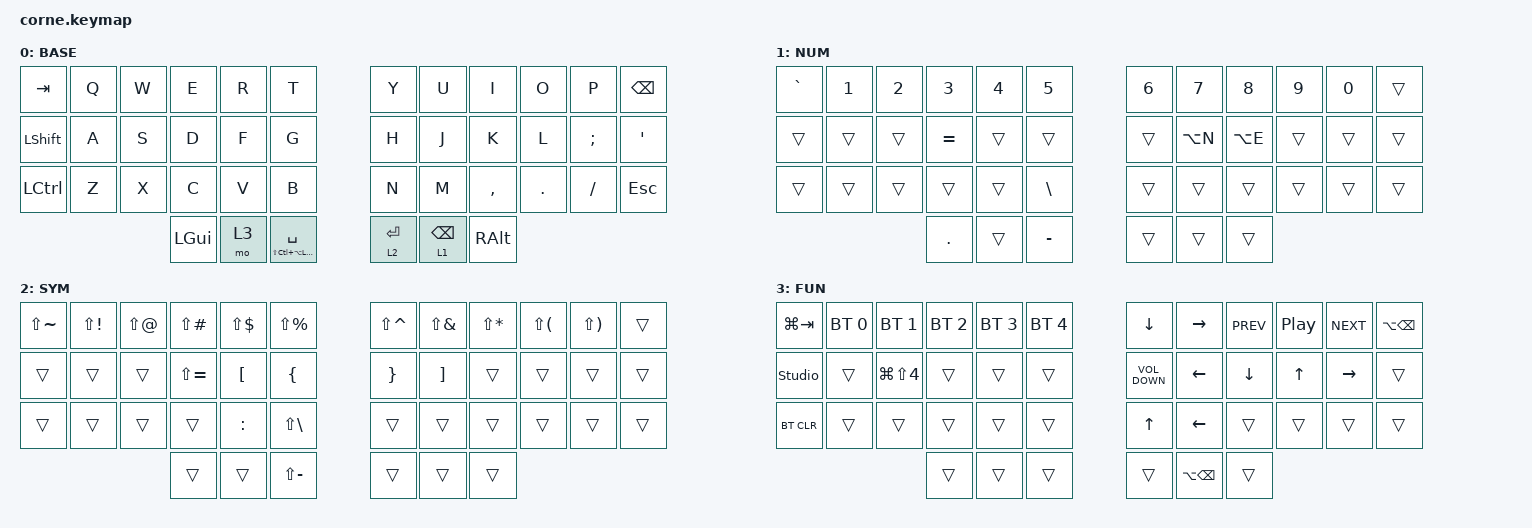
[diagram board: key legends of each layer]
/*
 * Copyright (c) 2020 The ZMK Contributors
 *
 * SPDX-License-Identifier: MIT
 */

#include <behaviors.dtsi>
#include <dt-bindings/zmk/bt.h>
#include <dt-bindings/zmk/keys.h>

&led_strip { chain-length = <27>; };

&mt { flavor = "balanced"; };

/ {
    keymap {
        compatible = "zmk,keymap";

        Base {
            // -----------------------------------------------------------------------------------------
            // |  TAB |  Q  |  W  |  E  |  R  |  T  |   |  Y  |  U   |  I  |  O  |  P  | BKSP |
            // | CTRL |  A  |  S  |  D  |  F  |  G  |   |  H  |  J   |  K  |  L  |  ;  |  '   |
            // | SHFT |  Z  |  X  |  C  |  V  |  B  |   |  N  |  M   |  ,  |  .  |  /  | ESC  |
            //                    | GUI | LWR | SPC |   | ENT | RSE  | ALT |

            display-name = "BASE";
            bindings = <
&kp TAB    &kp Q  &kp W  &kp E     &kp R  &kp T                         &kp Y        &kp U            &kp I          &kp O    &kp P     &kp BSPC
&kp LSHFT  &kp A  &kp S  &kp D     &kp F  &kp G                         &kp H        &kp J            &kp K          &kp L    &kp SEMI  &kp APOS
&kp LCTRL  &kp Z  &kp X  &kp C     &kp V  &kp B                         &kp N        &kp M            &kp COMMA      &kp DOT  &kp FSLH  &kp ESC
                         &kp LGUI  &mo 3  &mt LS(LC(LA(LGUI))) SPACE    &lt 2 ENTER  &lt 1 BACKSPACE  &kp RIGHT_ALT
            >;
        };

        Num {
            display-name = "NUM";
            bindings = <
&kp GRAVE  &kp N1  &kp N2  &kp N3     &kp N4  &kp N5       &kp N6  &kp N7     &kp N8     &kp N9  &kp N0  &trans
&trans     &trans  &trans  &kp EQUAL  &trans  &trans       &trans  &kp LA(N)  &kp LA(E)  &trans  &trans  &trans
&trans     &trans  &trans  &trans     &trans  &kp BSLH     &trans  &trans     &trans     &trans  &trans  &trans
                           &kp DOT    &trans  &kp MINUS    &trans  &trans     &trans
            >;

            label = "NUM";
        };

        Sym {
            display-name = "SYM";
            bindings = <
&kp LS(TILDE)  &kp LS(EXCL)  &kp LS(AT)  &kp LS(POUND)  &kp LS(DLLR)      &kp LS(PRCNT)     &kp LS(CARET)    &kp LS(AMPS)       &kp LS(STAR)  &kp LS(LPAR)  &kp LS(RPAR)  &trans
&trans         &trans        &trans      &kp LS(EQUAL)  &kp LEFT_BRACKET  &kp LEFT_BRACE    &kp RIGHT_BRACE  &kp RIGHT_BRACKET  &trans        &trans        &trans        &trans
&trans         &trans        &trans      &trans         &kp COLON         &kp LS(BSLH)      &trans           &trans             &trans        &trans        &trans        &trans
                                         &trans         &trans            &kp LS(MINUS)     &trans           &trans             &trans
            >;

            label = "SYM";
        };

        Fun {
            display-name = "FUN";
            bindings = <
&kp LG(TAB)     &bt BT_SEL 0  &bt BT_SEL 1          &bt BT_SEL 2  &bt BT_SEL 3  &bt BT_SEL 4    &kp DOWN_ARROW     &kp RIGHT          &kp C_PREV  &kp C_PLAY_PAUSE  &kp C_NEXT  &kp LA(BACKSPACE)
&studio_unlock  &trans        &kp LG(LS(NUMBER_4))  &trans        &trans        &trans          &kp C_VOLUME_DOWN  &kp LEFT           &kp DOWN    &kp UP            &kp RIGHT   &trans
&bt BT_CLR      &trans        &trans                &trans        &trans        &trans          &kp UP_ARROW       &kp LEFT           &trans      &trans            &trans      &trans
                                                    &trans        &trans        &trans          &trans             &kp LA(BACKSPACE)  &trans
            >;
        };
    };
};
